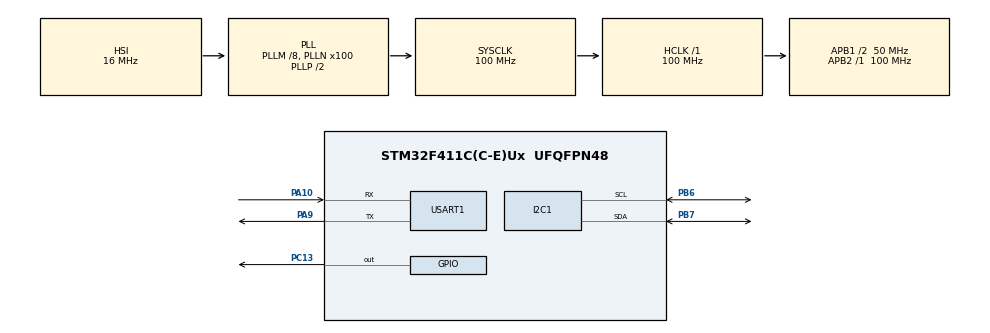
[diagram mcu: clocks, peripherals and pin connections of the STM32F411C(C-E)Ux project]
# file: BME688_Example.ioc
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I2C1.I2C_Mode=I2C_Standard
Mcu.Family=STM32F4
Mcu.Name=STM32F411C(C-E)Ux
Mcu.Package=UFQFPN48
NVIC.PriorityGroup=NVIC_PRIORITYGROUP_4
PA10.Mode=Asynchronous
PA10.Signal=USART1_RX
PA13.Mode=Serial_Wire
PA13.Signal=SYS_JTMS-SWDIO
PA14.Mode=Serial_Wire
PA14.Signal=SYS_JTCK-SWCLK
PA9.Mode=Asynchronous
PA9.Signal=USART1_TX
PB6.Mode=I2C
PB6.Signal=I2C1_SCL
PB7.Mode=I2C
PB7.Signal=I2C1_SDA
PC13-ANTI_TAMP.Signal=GPIO_Output
PH0\ -\ OSC_IN.Mode=HSE-External-Oscillator
PH0\ -\ OSC_IN.Signal=RCC_OSC_IN
PH1\ -\ OSC_OUT.Mode=HSE-External-Oscillator
PH1\ -\ OSC_OUT.Signal=RCC_OSC_OUT
ProjectManager.HeapSize=0x200
ProjectManager.StackSize=0x400
ProjectManager.TargetToolchain=STM32CubeIDE
RCC.48MHZClocksFreq_Value=50000000
RCC.AHBFreq_Value=100000000
RCC.APB1CLKDivider=RCC_HCLK_DIV2
RCC.APB1Freq_Value=50000000
RCC.APB1TimFreq_Value=100000000
RCC.APB2Freq_Value=100000000
RCC.APB2TimFreq_Value=100000000
RCC.CortexFreq_Value=100000000
RCC.HCLKFreq_Value=100000000
RCC.HSE_VALUE=25000000
RCC.HSI_VALUE=16000000
RCC.LSE_VALUE=32768
RCC.PLLM=8
RCC.PLLN=100
RCC.SYSCLKFreq_VALUE=100000000
RCC.SYSCLKSource=RCC_SYSCLKSOURCE_PLLCLK
RCC.VCOOutputFreq_Value=200000000
USART1.VirtualMode=VM_ASYNC
board=custom

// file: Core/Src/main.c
/* USER CODE BEGIN Header */
/**
  ******************************************************************************
  * @file           : main.c
  * @brief          : Main program body
  ******************************************************************************
  * @attention
  *
  * Copyright (c) 2026 STMicroelectronics.
  * All rights reserved.
  *
  * This software is licensed under terms that can be found in the LICENSE file
  * in the root directory of this software component.
  * If no LICENSE file comes with this software, it is provided AS-IS.
  *
  ******************************************************************************
  */
/* USER CODE END Header */
#include "main.h"

/* USER CODE BEGIN Includes */
#include "BME688.h"
#include "ANSII_Codes.h"
#include <stdio.h>
#include <stdlib.h>
/* USER CODE END Includes */

/* USER CODE BEGIN PD */
/* -- Parámetros de la batería de pruebas -- */
#define BME_MUESTRAS        10U        /**< Lecturas seguidas del test de muestras */
#define BME_PERIODO_MS      1000U      /**< Entre muestras: el calentador a 300 °C autocalienta el sensor */
#define BME_SENTINEL        (-1000.0f) /**< Fuera de rango en todos los campos: delata campos que Get no escribió */

/* Rango de funcionamiento del sensor (datasheet) */
#define BME_TEMP_MIN        (-40.0f)
#define BME_TEMP_MAX        (85.0f)
#define BME_PRES_MIN        (300.0f)   /**< [hPa] */
#define BME_PRES_MAX        (1100.0f)  /**< [hPa] */
#define BME_HUM_MIN         (0.0f)     /**< [%RH] la librería acota a 0-100 */
#define BME_HUM_MAX         (100.0f)
/* Resistencia de gas: la fórmula del BME688 da 1.4 kOhm .. 102 MOhm, fuera de eso hay bytes mal leídos */
#define BME_GAS_MIN         (1.0e3f)   /**< [Ohm] */
#define BME_GAS_MAX         (10.1e8f)   /**< [Ohm] */

/* Con la placa quieta, variación máxima entre muestras (forced mode, filtro IIR off).
 * La temperatura sube algo por el calentador: ajustar si falla sin tocarla */
#define BME_PRES_RUIDO      0.5f       /**< [hPa] */
#define BME_TEMP_RUIDO      1.0f       /**< [°C] */
#define BME_HUM_RUIDO       3.0f       /**< [%RH] */
/* USER CODE END PD */

/* USER CODE BEGIN PM */
#define BME_CHECK(x)  do { if ((x) != BME688_OK) { Error_Handler(); } } while (0)
/* Para los tests de error: la llamada debe devolver exactamente el estado esperado */
#define BME_EXPECT(x, st)  do { if ((x) != (st)) { Error_Handler(); } } while (0)
/* Dentro de [min, max]; escrito así para que un NaN también falle */
#define BME_EN_RANGO(v, min, max)  ((v) >= (min) && (v) <= (max))

/* USER CODE END PM */

I2C_HandleTypeDef hi2c1;

UART_HandleTypeDef huart1;

/* USER CODE BEGIN PV */
BME688_Status_t status;
/* USER CODE END PV */

void SystemClock_Config(void);
static void MX_GPIO_Init(void);
static void MX_I2C1_Init(void);
static void MX_USART1_UART_Init(void);
/* USER CODE BEGIN PFP */
static void BME688_Centinela(BME688_Data_t* d);
static void BME688_Leer(BME688_Data_t* d);
static void BME688_CheckSinTocar(const BME688_Data_t* d);
static void BME688_PrintVal(const char* nombre, float v, const char* unidad);
static void BME688_Print(const BME688_Data_t* d);
static void BME688_TestSuite(void);
static void BME688_TestPreInit(void);
static void BME688_TestLectura(void);
static void BME688_TestMuestras(void);
static void BME688_TestSleep(void);
static void BME688_TestErrores(void);
static void BME688_TestDeInit(void);
/* USER CODE END PFP */

int main(void)
{

  /* MCU Configuration--------------------------------------------------------*/

  /* Reset of all peripherals, Initializes the Flash interface and the Systick. */
  HAL_Init();

  /* Configure the system clock */
  SystemClock_Config();

  /* Initialize all configured peripherals */
  MX_GPIO_Init();
  MX_I2C1_Init();
  MX_USART1_UART_Init();
  /* USER CODE BEGIN 2 */
  printf(CLEAR_SCREEN CURSOR_HOME COLOR_BOLD COLOR_CYAN "BME688 TEST" COLOR_RESET "\r\n");
  BME688_TestPreInit();

  status = BME688_Init(&hi2c1);
  if(status != BME688_OK)
  {
	  Error_Handler();
  }
  else
  {
	  HAL_GPIO_WritePin(GPIOC, GPIO_PIN_13, GPIO_PIN_RESET);
  }
  /* USER CODE END 2 */

  /* Infinite loop */
  /* USER CODE BEGIN WHILE */
  while (1)
  {
	  BME688_TestSuite();
    /* USER CODE END WHILE */

  }
}

void SystemClock_Config(void)
{
  RCC_OscInitTypeDef RCC_OscInitStruct = {0};
  RCC_ClkInitTypeDef RCC_ClkInitStruct = {0};

  /** Configure the main internal regulator output voltage
  */
  __HAL_RCC_PWR_CLK_ENABLE();
  __HAL_PWR_VOLTAGESCALING_CONFIG(PWR_REGULATOR_VOLTAGE_SCALE1);

  /** Initializes the RCC Oscillators according to the specified parameters
  * in the RCC_OscInitTypeDef structure.
  */
  RCC_OscInitStruct.OscillatorType = RCC_OSCILLATORTYPE_HSI;
  RCC_OscInitStruct.HSIState = RCC_HSI_ON;
  RCC_OscInitStruct.HSICalibrationValue = RCC_HSICALIBRATION_DEFAULT;
  RCC_OscInitStruct.PLL.PLLState = RCC_PLL_ON;
  RCC_OscInitStruct.PLL.PLLSource = RCC_PLLSOURCE_HSI;
  RCC_OscInitStruct.PLL.PLLM = 8;
  RCC_OscInitStruct.PLL.PLLN = 100;
  RCC_OscInitStruct.PLL.PLLP = RCC_PLLP_DIV2;
  RCC_OscInitStruct.PLL.PLLQ = 4;
  if (HAL_RCC_OscConfig(&RCC_OscInitStruct) != HAL_OK)
  {
    Error_Handler();
  }

  /** Initializes the CPU, AHB and APB buses clocks
  */
  RCC_ClkInitStruct.ClockType = RCC_CLOCKTYPE_HCLK|RCC_CLOCKTYPE_SYSCLK
                              |RCC_CLOCKTYPE_PCLK1|RCC_CLOCKTYPE_PCLK2;
  RCC_ClkInitStruct.SYSCLKSource = RCC_SYSCLKSOURCE_PLLCLK;
  RCC_ClkInitStruct.AHBCLKDivider = RCC_SYSCLK_DIV1;
  RCC_ClkInitStruct.APB1CLKDivider = RCC_HCLK_DIV2;
  RCC_ClkInitStruct.APB2CLKDivider = RCC_HCLK_DIV1;

  if (HAL_RCC_ClockConfig(&RCC_ClkInitStruct, FLASH_LATENCY_3) != HAL_OK)
  {
    Error_Handler();
  }
}

static void MX_I2C1_Init(void)
{

  hi2c1.Instance = I2C1;
  hi2c1.Init.ClockSpeed = 100000;
  hi2c1.Init.DutyCycle = I2C_DUTYCYCLE_2;
  hi2c1.Init.OwnAddress1 = 0;
  hi2c1.Init.AddressingMode = I2C_ADDRESSINGMODE_7BIT;
  hi2c1.Init.DualAddressMode = I2C_DUALADDRESS_DISABLE;
  hi2c1.Init.OwnAddress2 = 0;
  hi2c1.Init.GeneralCallMode = I2C_GENERALCALL_DISABLE;
  hi2c1.Init.NoStretchMode = I2C_NOSTRETCH_DISABLE;
  if (HAL_I2C_Init(&hi2c1) != HAL_OK)
  {
    Error_Handler();
  }

}

static void MX_USART1_UART_Init(void)
{

  huart1.Instance = USART1;
  huart1.Init.BaudRate = 115200;
  huart1.Init.WordLength = UART_WORDLENGTH_8B;
  huart1.Init.StopBits = UART_STOPBITS_1;
  huart1.Init.Parity = UART_PARITY_NONE;
  huart1.Init.Mode = UART_MODE_TX_RX;
  huart1.Init.HwFlowCtl = UART_HWCONTROL_NONE;
  huart1.Init.OverSampling = UART_OVERSAMPLING_16;
  if (HAL_UART_Init(&huart1) != HAL_OK)
  {
    Error_Handler();
  }

}

static void MX_GPIO_Init(void)
{
  GPIO_InitTypeDef GPIO_InitStruct = {0};

  /* GPIO Ports Clock Enable */
  __HAL_RCC_GPIOC_CLK_ENABLE();
  __HAL_RCC_GPIOH_CLK_ENABLE();
  __HAL_RCC_GPIOA_CLK_ENABLE();
  __HAL_RCC_GPIOB_CLK_ENABLE();

  /*Configure GPIO pin Output Level */
  HAL_GPIO_WritePin(GPIOC, GPIO_PIN_13, GPIO_PIN_RESET);

  /*Configure GPIO pin : PC13 */
  GPIO_InitStruct.Pin = GPIO_PIN_13;
  GPIO_InitStruct.Mode = GPIO_MODE_OUTPUT_PP;
  GPIO_InitStruct.Pull = GPIO_NOPULL;
  GPIO_InitStruct.Speed = GPIO_SPEED_FREQ_LOW;
  HAL_GPIO_Init(GPIOC, &GPIO_InitStruct);

}

/* USER CODE BEGIN 4 */

/* printf por USART1 (PA9): syscalls.c redirige _write a esta función débil */
int __io_putchar(int ch)
{
	uint8_t c = (uint8_t)ch;
	HAL_UART_Transmit(&huart1, &c, 1, HAL_MAX_DELAY);
	return ch;
}

/* Rellena la muestra con el centinela para detectar campos que Get no escribió */
static void BME688_Centinela(BME688_Data_t* d)
{
	d->temperatura = d->presion = d->humedad = d->gas = BME_SENTINEL;
	d->gas_valido  = 0xFFU;
}

/* Lectura completa: Get debe ir bien, los cuatro campos quedar dentro del rango del
 * sensor (el centinela está fuera) y el calentador haberse estabilizado */
static void BME688_Leer(BME688_Data_t* d)
{
	BME688_Centinela(d);
	BME_CHECK(BME688_Get(d));

	if (!BME_EN_RANGO(d->temperatura, BME_TEMP_MIN, BME_TEMP_MAX) ||
		!BME_EN_RANGO(d->presion,     BME_PRES_MIN, BME_PRES_MAX) ||
		!BME_EN_RANGO(d->humedad,     BME_HUM_MIN,  BME_HUM_MAX)  ||
		!BME_EN_RANGO(d->gas,         BME_GAS_MIN,  BME_GAS_MAX)  ||
		d->gas_valido != 1U)
	{
		BME688_Print(d);
		Error_Handler();
	}
}

/* Tras un Get rechazado la muestra debe seguir intacta */
static void BME688_CheckSinTocar(const BME688_Data_t* d)
{
	if (d->temperatura != BME_SENTINEL || d->presion != BME_SENTINEL ||
		d->humedad != BME_SENTINEL || d->gas != BME_SENTINEL || d->gas_valido != 0xFFU)
	{
		Error_Handler();
	}
}

/* El proyecto no enlaza -u _printf_float: se imprime en centésimas con enteros */
static void BME688_PrintVal(const char* nombre, float v, const char* unidad)
{
	const int32_t c = (int32_t)(v * 100.0f);
	printf("%s%s%ld.%02ld %s", nombre, (c < 0) ? "-" : "", labs(c) / 100, labs(c) % 100, unidad);
}

static void BME688_Print(const BME688_Data_t* d)
{
	BME688_PrintVal("T=", d->temperatura, "C | ");
	BME688_PrintVal("P=", d->presion, "hPa | ");
	BME688_PrintVal("H=", d->humedad, "%RH | ");
	/* En kOhm: en Ohm las centésimas desbordan int32 por encima de ~21 MOhm */
	BME688_PrintVal("Gas=", d->gas / 1000.0f, "kOhm");
	printf("%s\r\n", (d->gas_valido == 1U) ? "" : " (no valido)");
}

static void BME688_TestSuite(void)
{
	BME688_TestLectura();
	HAL_Delay(2000);

	BME688_TestMuestras();
	HAL_Delay(2000);

	BME688_TestSleep();
	HAL_Delay(2000);

	BME688_TestErrores();
	HAL_Delay(2000);

	BME688_TestDeInit();
	HAL_Delay(2000);
}

static void BME688_TestPreInit(void)
{
	BME688_Data_t d;

	/* -- Antes de Init: todo devuelve NOT_INITIALIZED sin tocar el bus ni la muestra.
	 *    El puntero NULL se comprueba antes que el estado: INVALID_PARAM -- */
	BME688_Centinela(&d);
	BME_EXPECT(BME688_Get(&d), BME688_NOT_INITIALIZED);
	BME688_CheckSinTocar(&d);
	BME_EXPECT(BME688_Get(NULL), BME688_INVALID_PARAM);
	BME_EXPECT(BME688_Sleep(), BME688_NOT_INITIALIZED);
	BME_EXPECT(BME688_DeInit(), BME688_NOT_INITIALIZED);
}

static void BME688_TestLectura(void)
{
	BME688_Data_t d;

	/* -- Lectura única: T, P, H y gas dentro del rango del sensor y gas válido -- */
	printf(COLOR_YELLOW "[Lectura]" COLOR_RESET "\r\n");
	BME688_Leer(&d);
	BME688_Print(&d);
}

static void BME688_TestMuestras(void)
{
	BME688_Data_t d, anterior;
	float pmin = 0.0f, pmax = 0.0f, tmin = 0.0f, tmax = 0.0f, hmin = 0.0f, hmax = 0.0f;
	uint8_t cambios = 0U;

	/* -- Lecturas seguidas cada BME_PERIODO_MS con la placa QUIETA: ninguna debe fallar.
	 *    Cada Get dispara una medición forced nueva, así que las muestras deben cambiar
	 *    (al menos el gas), pero poco: un salto mayor que el ruido delata bytes mal
	 *    combinados o la compensación. Soplarle debe subir la humedad y bajar el gas -- */
	printf(COLOR_YELLOW "[Muestras]" COLOR_RESET "\r\n");
	for (uint8_t i = 1; i <= BME_MUESTRAS; i++)
	{
		BME688_Leer(&d);
		if (i == 1U)
		{
			pmin = pmax = d.presion;
			tmin = tmax = d.temperatura;
			hmin = hmax = d.humedad;
		}
		else if (d.temperatura != anterior.temperatura || d.presion != anterior.presion ||
				 d.humedad != anterior.humedad || d.gas != anterior.gas)
		{
			cambios++;
		}
		anterior = d;

		pmin = fminf(pmin, d.presion);
		pmax = fmaxf(pmax, d.presion);
		tmin = fminf(tmin, d.temperatura);
		tmax = fmaxf(tmax, d.temperatura);
		hmin = fminf(hmin, d.humedad);
		hmax = fmaxf(hmax, d.humedad);

		printf("%2u/%u  ", i, BME_MUESTRAS);
		BME688_Print(&d);
		HAL_Delay(BME_PERIODO_MS);
	}

	BME688_PrintVal("dP=", pmax - pmin, "hPa | ");
	BME688_PrintVal("dT=", tmax - tmin, "C | ");
	BME688_PrintVal("dH=", hmax - hmin, "%RH\r\n");
	if (cambios == 0U || pmax - pmin > BME_PRES_RUIDO ||
		tmax - tmin > BME_TEMP_RUIDO || hmax - hmin > BME_HUM_RUIDO)
	{
		Error_Handler();
	}
}

static void BME688_TestSleep(void)
{
	BME688_Data_t d;

	/* -- Sleep: tras cada Get el sensor ya vuelve solo a sleep, así que pedirlo (y repetirlo)
	 *    debe devolver OK sin esperar -- */
	printf(COLOR_YELLOW "[Sleep]" COLOR_RESET "\r\n");
	BME_CHECK(BME688_Sleep());
	BME_CHECK(BME688_Sleep());

	/* -- Despertar: Get lo saca de sleep sin Init, conserva configuración y calibración -- */
	BME688_Leer(&d);
	BME688_Print(&d);
	printf(COLOR_GREEN "Sleep OK" COLOR_RESET "\r\n");
}

static void BME688_TestErrores(void)
{
	BME688_Data_t d;

	/* -- Puntero de salida NULL -- */
	printf(COLOR_YELLOW "[Errores]" COLOR_RESET "\r\n");
	BME_EXPECT(BME688_Get(NULL), BME688_INVALID_PARAM);

	/* -- Init con handle NULL: se rechaza antes de tocar el estado, el driver sigue funcionando -- */
	BME_EXPECT(BME688_Init(NULL), BME688_INVALID_PARAM);
	BME688_Leer(&d);
	printf(COLOR_GREEN "Errores OK" COLOR_RESET "\r\n");
}

static void BME688_TestDeInit(void)
{
	BME688_Data_t d;

	/* -- DeInit deja el sensor en sleep y libera el handle: las llamadas posteriores
	 *    devuelven NOT_INITIALIZED sin tocar el bus ni la muestra. Repetirlo también -- */
	printf(COLOR_YELLOW "[DeInit]" COLOR_RESET "\r\n");
	BME_CHECK(BME688_DeInit());
	BME_EXPECT(BME688_DeInit(), BME688_NOT_INITIALIZED);
	BME688_Centinela(&d);
	BME_EXPECT(BME688_Get(&d), BME688_NOT_INITIALIZED);
	BME_EXPECT(BME688_Sleep(), BME688_NOT_INITIALIZED);
	BME688_CheckSinTocar(&d);

	/* -- Re-Init: el driver debe poder arrancar de nuevo tras un DeInit -- */
	BME_CHECK(BME688_Init(&hi2c1));
	BME688_Leer(&d);

	/* -- Init sobre un driver ya inicializado: vuelve a detectar, resetear y configurar -- */
	BME_CHECK(BME688_Init(&hi2c1));
	BME688_Leer(&d);
	BME688_Print(&d);
	printf(COLOR_GREEN "Re-Init OK" COLOR_RESET "\r\n");
}

/* USER CODE END 4 */

void Error_Handler(void)
{
  /* USER CODE BEGIN Error_Handler_Debug */
  /* User can add his own implementation to report the HAL error return state */
  /* Si la UART aún no está inicializada, HAL_UART_Transmit devuelve BUSY sin bloquear */
  printf(COLOR_BOLD COLOR_RED "\r\nERROR: prueba fallida" COLOR_RESET "\r\n");
  while (1)
  {
	  HAL_GPIO_TogglePin(GPIOC, GPIO_PIN_13);
	  HAL_Delay(200);
  }
  /* USER CODE END Error_Handler_Debug */
}
